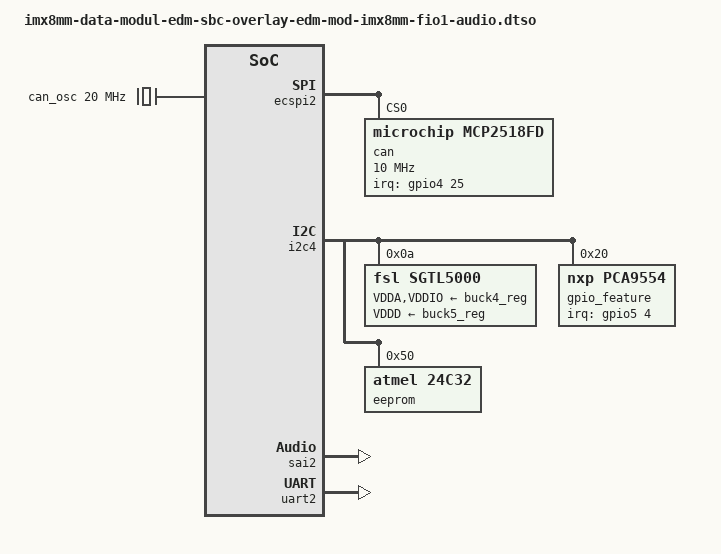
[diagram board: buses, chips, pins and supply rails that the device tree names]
// SPDX-License-Identifier: (GPL-2.0+ OR MIT)
/*
 * Copyright 2024-2026 Marek Vasut
 */
/dts-v1/;
/plugin/;

#include <dt-bindings/clock/imx8mm-clock.h>
#include <dt-bindings/gpio/gpio.h>
#include <dt-bindings/interrupt-controller/arm-gic.h>

#include "imx8mm-pinfunc.h"

&{/} {
	can_osc: can-osc {
		compatible = "fixed-clock";
		#clock-cells = <0>;
		clock-frequency = <20000000>;
	};

	sound {
		compatible = "simple-audio-card";
		simple-audio-card,name = "SGTL5000-Card";
		simple-audio-card,format = "i2s";
		simple-audio-card,bitclock-master = <&codec_dai>;
		simple-audio-card,frame-master = <&codec_dai>;
		simple-audio-card,widgets = "Headphone", "Headphone Jack";
		simple-audio-card,routing = "Headphone Jack", "HP_OUT";

		cpu_dai: simple-audio-card,cpu {
			sound-dai = <&sai2>;
		};

		codec_dai: simple-audio-card,codec {
			sound-dai = <&sgtl5000>;
		};
	};
};

&ecspi2 {
	#address-cells = <1>;
	#size-cells = <0>;
	status = "okay";

	can@0 {
		compatible = "microchip,mcp2518fd";
		reg = <0>;
		clocks = <&can_osc>;
		interrupts-extended = <&gpio4 25 IRQ_TYPE_LEVEL_LOW>;
		spi-max-frequency = <10000000>;
	};
};

&i2c4 {	/* Feature connector I2C */
	#address-cells = <1>;
	#size-cells = <0>;

	sgtl5000: codec@a {
		#sound-dai-cells = <0>;
		clocks = <&sai5clk 1>;
		compatible = "fsl,sgtl5000";
		reg = <0x0a>;
		VDDA-supply = <&buck4_reg>;
		VDDD-supply = <&buck5_reg>;
		VDDIO-supply = <&buck4_reg>;
	};

	gpio_feature: io-expander@20 {
		compatible = "nxp,pca9554";
		reg = <0x20>;
		#gpio-cells = <2>;
		gpio-controller;
		#interrupt-cells = <2>;
		interrupt-controller;
		interrupt-parent = <&gpio5>;
		interrupts = <4 IRQ_TYPE_LEVEL_LOW>;
		gpio-line-names =
			"GPI0", "GPI1", "GPI2", "GPI3",
			"GPO0", "GPO1", "GPO2", "GPO3";
	};

	eeprom@50 {
		compatible = "atmel,24c32";
		reg = <0x50>;
		pagesize = <32>;
	};
};

&iomuxc {
	pinctrl_codec_mclk: codec-mclk_feature-grp {
		fsl,pins = <
			/* GPIO4_IO27 */
			MX8MM_IOMUXC_SAI2_MCLK_SAI5_MCLK		0x2
		>;
	};

	pinctrl_sai2: sai2_feature-grp {
		fsl,pins = <
			MX8MM_IOMUXC_SAI2_RXC_SAI2_RX_BCLK		0x90
			MX8MM_IOMUXC_SAI2_TXD0_SAI2_TX_DATA0		0x96
			MX8MM_IOMUXC_SAI2_RXD0_SAI2_RX_DATA0		0x90
			MX8MM_IOMUXC_SAI2_TXFS_SAI2_TX_SYNC		0x96
		>;
	};
};

&pinctrl_hog_feature {
	fsl,pins = <
		/* GPIO5_IO03 */
		MX8MM_IOMUXC_SPDIF_TX_GPIO5_IO3				0x40000006
		/* GPIO5_IO04 */
		MX8MM_IOMUXC_SPDIF_RX_GPIO5_IO4				0x40000006

		/* CAN_INT# */
		MX8MM_IOMUXC_SAI2_TXC_GPIO4_IO25			0x40000090
	>;
};

&sai2 {
	pinctrl-names = "default";
	pinctrl-0 = <&pinctrl_sai2>;
	assigned-clocks = <&clk IMX8MM_CLK_SAI2>;
	assigned-clock-parents = <&clk IMX8MM_AUDIO_PLL1_OUT>;
	assigned-clock-rates = <24576000>;
	fsl,sai-asynchronous;
	fsl,sai-bit-clock-swap;
	fsl,sai-mclk-direction-output;
	status = "okay";
};

&spba2 {
	#address-cells = <1>;
	#size-cells = <1>;

	sai5clk: clock-controller@30050000 {	/* SAI5 */
		compatible = "fsl,imx8mm-sai-clock", "fsl,imx8mq-sai-clock";
		reg = <0x30050000 0x10000>;
		#clock-cells = <1>;
		clocks = <&clk IMX8MM_CLK_SAI5_IPG>,
			 <&clk IMX8MM_CLK_SAI5_ROOT>;
		clock-names = "bus", "mclk1";
		pinctrl-names = "default";
		pinctrl-0 = <&pinctrl_codec_mclk>;
		assigned-clocks = <&clk IMX8MM_CLK_SAI5>,
				  <&clk IMX8MM_CLK_CLKOUT1_SEL>,
				  <&clk IMX8MM_CLK_CLKOUT2_SEL>;
		assigned-clock-parents = <&clk IMX8MM_CLK_24M>,
					 <&clk IMX8MM_CLK_24M>,
					 <&clk IMX8MM_CLK_24M>;
		assigned-clock-rates = <24000000>;
	};
};

&uart2 {	/* RS422 J12 */
	linux,rs485-enabled-at-boot-time;
	uart-has-rtscts;
	status = "okay";
};

/* UART4 is blocked by RDC and used as CM4 console UART */
&uart4 {	/* UART to 1-Wire J5 */
	status = "disabled";
};
